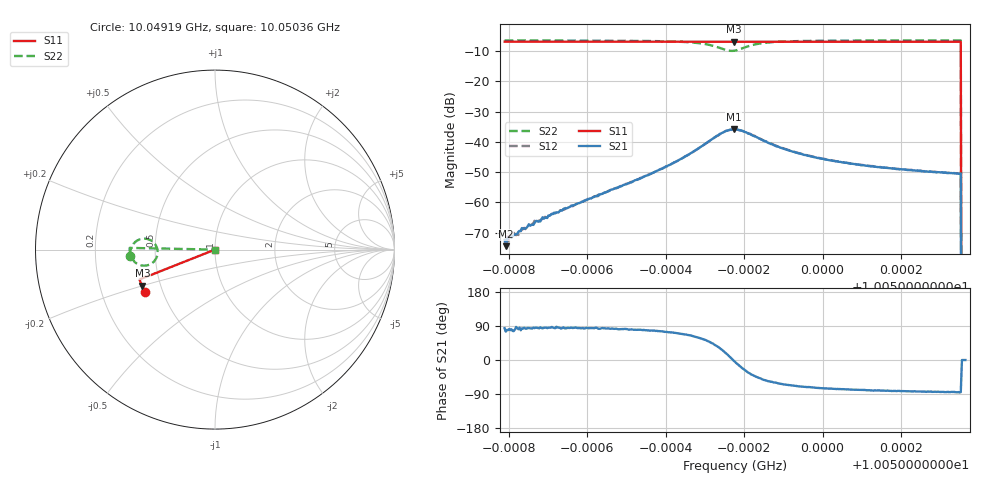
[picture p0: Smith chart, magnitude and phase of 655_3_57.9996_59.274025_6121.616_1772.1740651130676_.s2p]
#  HZ  S  RI  R  50.00
! Rohde & Schwarz Vector Network Analyzer
! Rohde-Schwarz,ZNB20-2Port,1311601062101988,3.16
! Created: UTC 3/21/2024, 1:19:43 AM
! freq[Hz]  re:S11  im:S11  re:S21  im:S21  re:S12  im:S12  re:S22  im:S22
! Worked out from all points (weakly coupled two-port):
!   401 points, 10.04919 GHz to 10.05036 GHz, reference 50 ohm
!   highest |S21| = -35.81 dB at 10.04977 GHz (marker M1); lowest = -74.4 dB at 10.04919 GHz (marker M2)
!   lowest |S11| = -6.9 dB at 10.04977 GHz (marker M3), VSWR 2.65, Z = 19.8 - j9.99 ohm
!   |S11| at or under -10 dB: 10.05035 GHz to end of sweep
!   |S22| runs from - to -6.5 dB; largest |S21 - S12| = 0.0014
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1.004919e10  -0.3887 -0.2356  2.52e-05 0.00024  3.5e-05 0.000206  -0.4738 -0.0348
1.0049193e10  -0.3889 -0.2354  4.93e-05 0.000183  3.67e-05 0.000223  -0.4737 -0.0344
1.0049207e10  -0.3893 -0.2347  4e-05 0.000257  2.96e-06 0.000273  -0.4738 -0.0332
1.0049222e10  -0.3897 -0.2338  3.11e-05 0.000302  2.54e-05 0.000302  -0.4738 -0.0317
1.0049234e10  -0.3902 -0.233  4.26e-05 0.000375  1.71e-05 0.000352  -0.4739 -0.0306
1.0049266e10  -0.3912 -0.2312  4.82e-05 0.000457  1.85e-05 0.000498  -0.4737 -0.0274
1.0049386e10  -0.3951 -0.2241  0.000111 0.00101  3.48e-05 0.00102  -0.4727 -0.0143
1.0049583e10  -0.401 -0.2123  0.000815 0.00335  0.000629 0.00337  -0.4625 0.0199
1.0049651e10  -0.4028 -0.208  0.00224 0.00536  0.00194 0.00545  -0.4458 0.0414
1.0049721e10  -0.4041 -0.2035  0.00837 0.00787  0.00785 0.00822  -0.3834 0.0604
1.0049751e10  -0.4043 -0.2019  0.0138 0.00528  0.0134 0.00618  -0.3345 0.0313
1.0049774e10  -0.4046 -0.201  0.0162 -0.000628  0.0161 0.000718  -0.3201 -0.0256
1.0049777e10  -0.4047 -0.201  0.016 -0.0013  0.0161 -6.7e-05  -0.3217 -0.0331
1.0049809e10  -0.4059 -0.1998  0.0117 -0.00742  0.0125 -0.00648  -0.3696 -0.0852
1.004985e10  -0.4075 -0.1975  0.00639 -0.00834  0.00696 -0.00782  -0.4243 -0.0838
1.0049897e10  -0.4091 -0.1947  0.0035 -0.00702  0.00404 -0.00687  -0.4512 -0.0651
1.0049974e10  -0.4114 -0.1899  0.00175 -0.00545  0.00207 -0.00538  -0.4664 -0.0415
1.0050056e10  -0.4136 -0.185  0.00101 -0.00444  0.00128 -0.00441  -0.4717 -0.0253
1.005017e10  -0.4165 -0.178  0.00055 -0.00365  0.000778 -0.00364  -0.4745 -0.0094
1.0050347e10  -0.4206 -0.1671  0.000276 -0.00297  0.00042 -0.00297  -0.4753 0.00879
1.0050361e10  0 0  0 0  0 0  0 0
1.0050364e10  0 0  0 0  0 0  0 0
